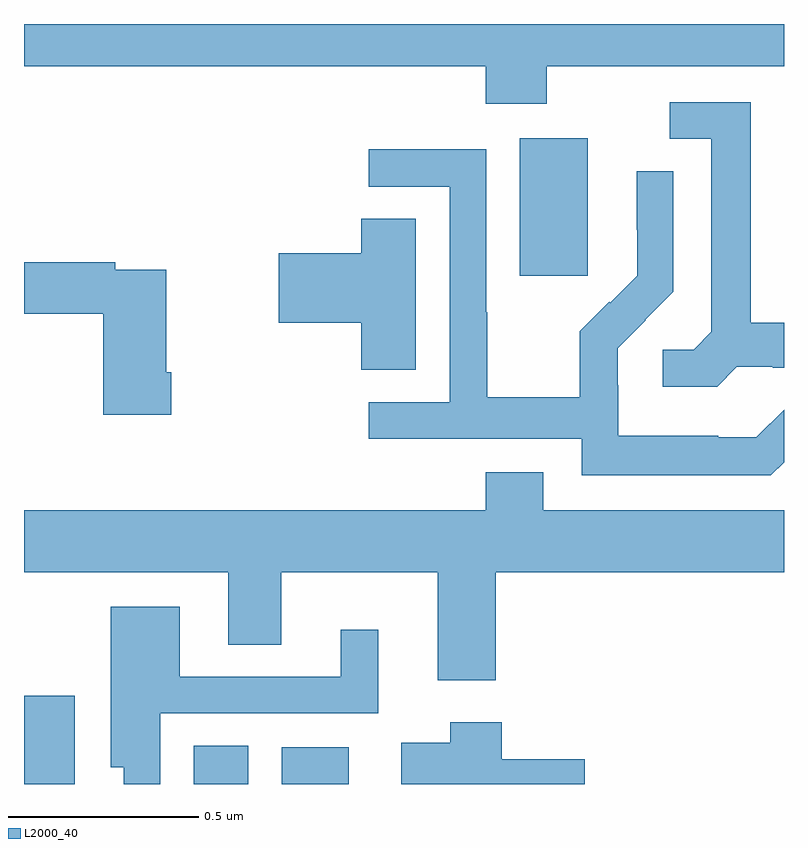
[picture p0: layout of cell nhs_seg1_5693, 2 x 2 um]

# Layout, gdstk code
import gdstk
lib = gdstk.Library(unit=1e-6, precision=1e-09)
def R(c, l, rs):  # rectangles x0, y0, x1, y1
    for r in rs: c.add(gdstk.rectangle(r[:2], r[2:], *l))
def P(c, l, *ps):  # polygons
    for p in ps: c.add(gdstk.Polygon(p, *l))
L2000_40 = (2000, 40)

nhs_seg1_5693 = lib.new_cell('nhs_seg1_5693')
R(nhs_seg1_5693, L2000_40, [(182,527.199,182.134,527.431), (182.447,527.199,182.59,527.3), (182.678,527.199,182.854,527.296), (183.305,528.537,183.484,528.898)])
P(nhs_seg1_5693, L2000_40, [(182,529.088),(183.215,529.088),(183.215,528.989),(183.375,528.989),(183.375,529.088),(184,529.088),(184,529.199),(182,529.199)],
  [(183.876,528.297),(183.97,528.297),(183.97,528.294),(184,528.294),(184,528.413),(183.913,528.413),(183.913,528.993),(183.699,528.993),(183.699,528.897),(183.809,528.897),(183.809,528.389),(183.762,528.342),(183.681,528.342),(183.681,528.245),(183.824,528.245)],
  [(184,528.046),(184,528.184),(183.927,528.111),(183.827,528.111),(183.827,528.115),(183.564,528.115),(183.564,528.249),(183.562,528.249),(183.562,528.346),(183.636,528.42),(183.635,528.421),(183.708,528.494),(183.708,528.812),(183.612,528.812),(183.612,528.658),(183.614,528.658),(183.614,528.536),(183.543,528.465),(183.54,528.468),(183.463,528.391),(183.463,528.217),(183.219,528.217),(183.219,528.44),(183.216,528.44),(183.216,528.87),(182.907,528.87),(182.907,528.771),(183.12,528.771),(183.12,528.204),(182.907,528.204),(182.907,528.108),(183.468,528.108),(183.468,528.011),(183.965,528.011)],
  [(183.031,528.686),(182.888,528.686),(182.888,528.596),(182.67,528.596),(182.67,528.413),(182.888,528.413),(182.888,528.289),(183.031,528.289)],
  [(182.387,528.283),(182.374,528.283),(182.374,528.552),(182.24,528.552),(182.24,528.572),(182,528.572),(182,528.436),(182.209,528.436),(182.209,528.171),(182.387,528.171)],
  [(183.242,527.756),(184,527.756),(184,527.92),(183.367,527.92),(183.367,528.019),(183.215,528.019),(183.215,527.92),(182,527.92),(182,527.756),(182.537,527.756),(182.537,527.566),(182.677,527.566),(182.677,527.756),(183.089,527.756),(183.089,527.472),(183.242,527.472)],
  [(182.358,527.385),(182.932,527.385),(182.932,527.605),(182.834,527.605),(182.834,527.481),(182.41,527.481),(182.41,527.665),(182.228,527.665),(182.228,527.243),(182.262,527.243),(182.262,527.199),(182.358,527.199)],
  [(183.475,527.264),(183.257,527.264),(183.257,527.362),(183.122,527.362),(183.122,527.308),(182.993,527.308),(182.993,527.199),(183.475,527.199)])

lib.write_gds('nhs_seg1_5693.gds')
